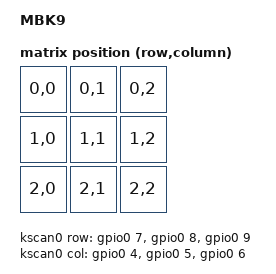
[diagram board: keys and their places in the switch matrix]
/dts-v1/;
#include <nordic/nrf52840_qiaa.dtsi>
#include <dt-bindings/zmk/matrix_transform.h>

#include "mbk9-pinctrl.dtsi"
#include "mbk9-layouts.dtsi"

/ {
    model = "MBK9";
    compatible = "mooz,mbk9";

    chosen {
        zephyr,code-partition = &code_partition;
        zephyr,sram = &sram0;
        zephyr,flash = &flash0;
        zmk,kscan = &kscan0;
        zmk,physical-layout = &default_layout;
        zmk,underglow = &led_strip;
    };

    // 3x3 Matrix Key Scan Configuration
    kscan0: kscan {
        compatible = "zmk,kscan-gpio-matrix";
        label = "KSCAN";
        diode-direction = "col2row";
        wakeup-source;

        // Column GPIOs (3 columns)
        col-gpios
            = <&gpio0 4 GPIO_ACTIVE_HIGH>
            , <&gpio0 5 GPIO_ACTIVE_HIGH>
            , <&gpio0 6 GPIO_ACTIVE_HIGH>
            ;

        // Row GPIOs (3 rows)
        row-gpios
            = <&gpio0 7 (GPIO_ACTIVE_HIGH | GPIO_PULL_DOWN)>
            , <&gpio0 8 (GPIO_ACTIVE_HIGH | GPIO_PULL_DOWN)>
            , <&gpio0 9 (GPIO_ACTIVE_HIGH | GPIO_PULL_DOWN)>
            ;
    };

    // 3x3 Matrix Transform
    default_transform: default_transform {
        compatible = "zmk,matrix-transform";
        columns = <3>;
        rows = <3>;

        map = <
            RC(0, 0) RC(0, 1) RC(0, 2)
            RC(1, 0) RC(1, 1) RC(1, 2)
            RC(2, 0) RC(2, 1) RC(2, 2)
        >;
    };

    // LED Strip Configuration for RGB
    led_strip: ws2812b_strip {
        compatible = "worldsemi,ws2812b-gpio";
        label = "RGB_LED";
        pin = <&gpio0 10>;
        chain-length = <9>;  // 9 LEDs for 3x3 matrix
        color-mapping = <LED_COLOR_ID_GREEN LED_COLOR_ID_RED LED_COLOR_ID_BLUE>;
        reset-delay = <250>;
        freq = <800000>;
    };

    // VIA/EEPROM Configuration
    compat_id_qwiic: compat_id_qwiic {
        compatible = "zmk,compat-id-qwiic-i2c";
        label = "COMPAT_ID";
    };

    // Optional: Status LED
    leds {
        compatible = "gpio-leds";

        status_led: led_0 {
            gpios = <&gpio0 11 GPIO_ACTIVE_LOW>;
            label = "Status LED";
        };
    };
};

// Bluetooth Configuration
&bt {
    status = "okay";
};

// ADC for battery
&adc {
    status = "okay";
};

// GPIO Configuration
&gpiote {
    status = "okay";
};

&gpio0 {
    status = "okay";
};

&gpio1 {
    status = "okay";
};

// UART for debugging
&uart0 {
    compatible = "nordic,nrf-uarte";
    current-speed = <115200>;
    pinctrl-0 = <&uart0_default>;
    pinctrl-1 = <&uart0_sleep>;
    pinctrl-names = "default", "sleep";
};

// USB Device Controller
zephyr_udc0: &usbd {
    status = "okay";
};

&flash0 {
    partitions {
        compatible = "fixed-partitions";
        #address-cells = <1>;
        #size-cells = <1>;

        code_partition: partition@1000 {
            label = "code";
            reg = <DT_SIZE_K(4) DT_SIZE_K(844)>;
            read-only;
        };

        // VIA/EEPROM storage partition
        via_partition: partition@d7000 {
            label = "via";
            reg = <DT_SIZE_K(856) DT_SIZE_K(8)>;
            read-only;
        };

        // Storage partition for ZMK settings
        storage_partition: partition@d9000 {
            label = "storage";
            reg = <DT_SIZE_K(864) DT_SIZE_K(8)>;
        };

        boot_partition: partition@f4000 {
            reg = <DT_SIZE_K(976) DT_SIZE_K(48)>;
        };
    };
};
